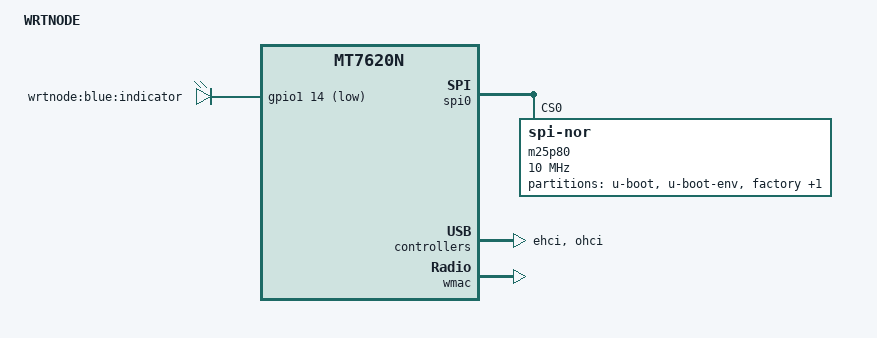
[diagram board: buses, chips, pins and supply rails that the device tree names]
/dts-v1/;

#include "mt7620n.dtsi"

/ {
	compatible = "wrtnode", "ralink,mt7620n-soc";
	model = "WRTNODE";

	gpio-leds {
		compatible = "gpio-leds";

		indicator {
			label = "wrtnode:blue:indicator";
			gpios = <&gpio1 14 1>;
		};
	};
};

&gpio1 {
	status = "okay";
};

&gpio2 {
	status = "okay";
};

&gpio3 {
	status = "okay";
};

&spi0 {
	status = "okay";

	m25p80@0 {
		#address-cells = <1>;
		#size-cells = <1>;
		compatible = "jedec,spi-nor";
		reg = <0>;
		linux,modalias = "m25p80", "w25q128";
		spi-max-frequency = <10000000>;

		partition@0 {
			label = "u-boot";
			reg = <0x0 0x30000>;
			read-only;
		};

		partition@30000 {
			label = "u-boot-env";
			reg = <0x30000 0x10000>;
			read-only;
		};

		factory: partition@40000 {
			label = "factory";
			reg = <0x40000 0x10000>;
			read-only;
		};

		partition@50000 {
			label = "firmware";
			reg = <0x50000 0xfb0000>;
		};
	};
};

&ehci {
	status = "okay";
};

&ohci {
	status = "okay";
};

&ethernet {
	mtd-mac-address = <&factory 0x4>;
	mediatek,portmap = "wllll";
};

&wmac {
	ralink,mtd-eeprom = <&factory 0>;
};

&pinctrl {
	state_default: pinctrl0 {
		default {
			ralink,group = "ephy", "wled", "pa", "i2c", "wdt", "uartf", "spi refclk";
			ralink,function = "gpio";
		};
	};
};
